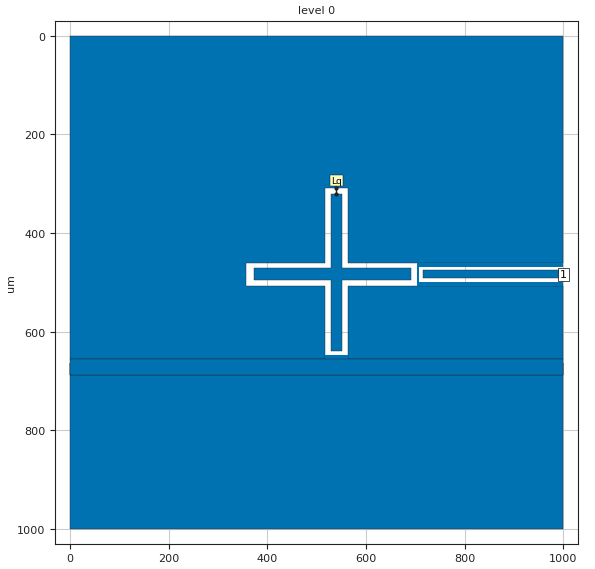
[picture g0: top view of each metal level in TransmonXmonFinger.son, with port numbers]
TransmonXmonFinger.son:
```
FTYP SONPROJ 15 ! Sonnet Project File
VER 16.52
HEADER
LIC calt2.2.43068 b6ae2bd1257f DESKTOP-SL82IK9 Michael
DAT 06/23/2016 13:36:24
BUILT_BY_CREATED xgeom 16.52 04/11/2016 14:48:12
BUILT_BY_SAVED xgeom 16.52
MDATE 06/23/2016 13:36:24
HDATE 06/23/2016 13:34:20
END HEADER
DIM
FREQ GHZ
IND NH
LNG UM
ANG DEG
CON /OH
CAP PF
RES OH
END DIM
FREQ
ABS 5.0 5.2 
END FREQ
CONTROL
ABS
OPTIONS  -dj 
SPEED 0
CACHE_ABS 1
TARG_ABS 300
Q_ACC Y
DET_ABS_RES Y
END CONTROL
GEO
DRP1 RIGHT FIX 100
TMET "Lossless" 0 SUP 0 0 0 0
BMET "Lossless" 0 SUP 0 0 0 0
BOX 2 1000 1000 500 500 20 0
      500 1 1 0 0 0 0 "Unnamed"
      500 11.9 1 5e-006 0 0 0 "Silicon (intrinsic)"
      500 1 1 0 0 0 0 "Unnamed"
LORGN 0 1000 U 
POR1 STD
POLY 16 1
1
1 50 0 0 0 1000 484.0000077 
SMD 0 "Lq"
ID 9
GNDREF F
TWTYPE CUST
TWVALUE 4
SBOX 537 543 310.9999967 316.9999968
PBSHW N
LPOS 540 310.9999967
TYPE IDEAL IND 9.4
SMDP 0 540 307.9999967 T 2 1 
SMDP 0 540 319.9999969 B 3 2 
END
NUM 10
0 13 -1 N 12 1 1 100 100 0 0 0 Y
552 496
691.9999709 496
691.9999709 472
552 472
552 319.9999969
528 319.9999969
528 472
372 472
372 496
528 496
528 639.9999909
552 639.9999909
552 496
END
0 10 -1 N 13 1 1 100 100 0 0 0 Y
1000 679.9999787
1000 664
1000 687.9999781
0 687.9999781
0 664
0 679.9999787
0 736
0 1000
1000 1000
1000 679.9999787
END
0 7 -1 N 14 1 1 100 100 0 0 0 Y
1000 508.0000194
704 508.0000194
704 508
564.0000504 508
564.0000504 656.0000136
1000 656.0000136
1000 508.0000194
END
0 15 -1 N 15 1 1 100 100 0 0 0 Y
516.0000126 508
356 508
356 460
516 460
516 307.9999967
564 307.9999967
564 460
1000 460
1000 236
1000 0
0 0
0 236
0 656.0000136
516.0000126 656.0000136
516.0000126 508
END
0 5 -1 N 16 1 1 100 100 0 0 0 Y
715.999968 476
1000 476
1000 492.0000154
715.999968 492.0000154
715.999968 476
END
0 5 -1 N 25 1 1 100 100 0 0 0 Y
516.0000126 648
564.0000504 648
564.0000504 656.0000136
516.0000126 656.0000136
516.0000126 648
END
0 5 -1 N 26 1 1 100 100 0 0 0 Y
0 656.0000136
1000 656.0000136
1000 687.9999781
0 687.9999781
0 656.0000136
END
0 5 -1 N 27 1 1 100 100 0 0 0 Y
704 460
708 460
708 508.0000194
704 508.0000194
704 460
END
0 5 -1 N 28 1 1 100 100 0 0 0 Y
708.0000208 460
1000 460
1000 468
708.0000208 468
708.0000208 460
END
0 5 -1 N 29 1 1 100 100 0 0 0 Y
708 500
1000 500
1000 508.0000194
708 508.0000194
708 500
END
END GEO
OPT
MAX 100
VARS
END
END OPT
VARSWP
END VARSWP
QSG
IMPORT NO
EXTRA_METAL NO
UNITS NO
ALIGN NO
REF NO
VIEW_RES YES
METALS NO
USED YES
END QSG
```
